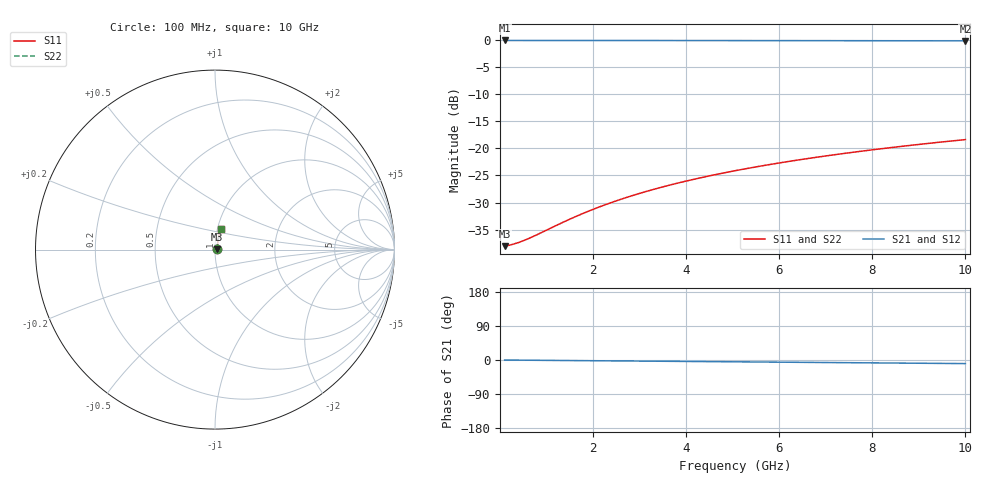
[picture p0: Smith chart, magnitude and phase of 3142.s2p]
# Hz S RI R 50.00
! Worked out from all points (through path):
!   100 points, 100 MHz to 10 GHz, reference 50 ohm
!   highest |S21| = -0.11 dB at 100 MHz (marker M1); lowest = -0.2 dB at 10 GHz (marker M2)
!   group delay of S21, straight-line fit = 2.63 ps
!   lowest |S11| = -38.0 dB at 100 MHz (marker M3), VSWR 1.03, Z = 51.3 + j0.122 ohm
!   |S11| at or under -10 dB: start of sweep to end of sweep
!   |S22| runs from -38.0 to -18.4 dB; largest |S21 - S12| = 0
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1e8  0.0125 0.00119  0.9875 -0.00164  0.9875 -0.00164  0.0125 0.00119
2e8  0.0126 0.00237  0.9874 -0.00327  0.9874 -0.00327  0.0126 0.00237
3e8  0.0127 0.00355  0.9873 -0.00491  0.9873 -0.00491  0.0127 0.00355
4e8  0.0127 0.00474  0.9873 -0.00654  0.9873 -0.00654  0.0127 0.00474
6e8  0.0128 0.00711  0.9872 -0.00981  0.9872 -0.00981  0.0128 0.00711
8e8  0.0129 0.00947  0.987 -0.0131  0.987 -0.0131  0.0129 0.00947
1.4e9  0.0133 0.0166  0.9866 -0.0229  0.9866 -0.0229  0.0133 0.0166
1.8e9  0.0137 0.0213  0.9863 -0.0294  0.9863 -0.0294  0.0137 0.0213
2.2e9  0.014 0.026  0.9859 -0.0359  0.9859 -0.0359  0.014 0.026
2.6e9  0.0145 0.0307  0.9855 -0.0425  0.9855 -0.0425  0.0145 0.0307
3e9  0.0149 0.0354  0.9849 -0.049  0.9849 -0.049  0.0149 0.0354
3.4e9  0.0155 0.0401  0.9844 -0.0555  0.9844 -0.0555  0.0155 0.0401
3.8e9  0.0161 0.0448  0.9837 -0.062  0.9837 -0.062  0.0161 0.0448
4.2e9  0.0168 0.0495  0.983 -0.0685  0.983 -0.0685  0.0168 0.0495
4.6e9  0.0175 0.0542  0.9823 -0.075  0.9823 -0.075  0.0175 0.0542
5.1e9  0.0185 0.06  0.9812 -0.0831  0.9812 -0.0831  0.0185 0.06
5.9e9  0.0202 0.0693  0.9794 -0.096  0.9794 -0.096  0.0202 0.0693
6.7e9  0.0223 0.0785  0.9772 -0.1088  0.9772 -0.1088  0.0223 0.0785
7.5e9  0.0245 0.0877  0.9749 -0.1216  0.9749 -0.1216  0.0245 0.0877
8.4e9  0.0274 0.0979  0.9719 -0.1359  0.9719 -0.1359  0.0274 0.0979
9.2e9  0.0301 0.1069  0.969 -0.1486  0.969 -0.1486  0.0301 0.1069
1e10  0.0331 0.1158  0.9658 -0.1612  0.9658 -0.1612  0.0331 0.1158
